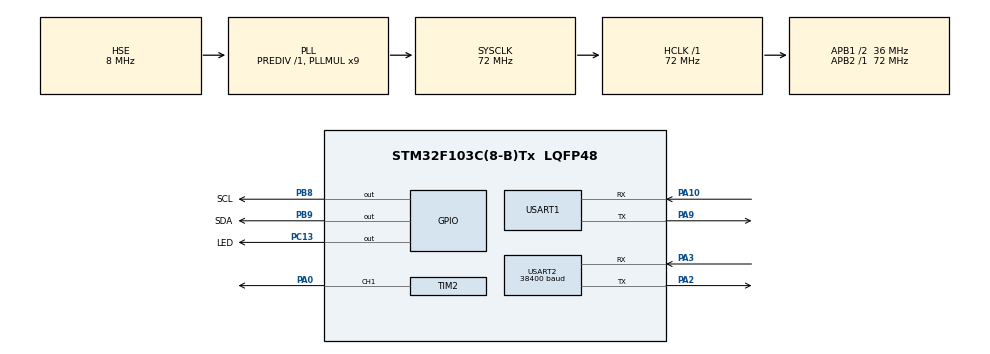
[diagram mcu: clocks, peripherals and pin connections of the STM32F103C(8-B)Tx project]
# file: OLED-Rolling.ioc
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Dma.Request0=USART1_RX
Dma.Request1=USART1_TX
Dma.Request2=USART2_RX
Dma.Request3=USART2_TX
Dma.USART1_RX.0.Direction=DMA_PERIPH_TO_MEMORY
Dma.USART1_RX.0.Instance=DMA1_Channel5
Dma.USART1_RX.0.MemDataAlignment=DMA_MDATAALIGN_BYTE
Dma.USART1_RX.0.MemInc=DMA_MINC_ENABLE
Dma.USART1_RX.0.Mode=DMA_NORMAL
Dma.USART1_RX.0.PeriphDataAlignment=DMA_PDATAALIGN_BYTE
Dma.USART1_RX.0.PeriphInc=DMA_PINC_DISABLE
Dma.USART1_RX.0.Priority=DMA_PRIORITY_LOW
Dma.USART1_TX.1.Direction=DMA_MEMORY_TO_PERIPH
Dma.USART1_TX.1.Instance=DMA1_Channel4
Dma.USART1_TX.1.MemDataAlignment=DMA_MDATAALIGN_BYTE
Dma.USART1_TX.1.MemInc=DMA_MINC_ENABLE
Dma.USART1_TX.1.Mode=DMA_NORMAL
Dma.USART1_TX.1.PeriphDataAlignment=DMA_PDATAALIGN_BYTE
Dma.USART1_TX.1.PeriphInc=DMA_PINC_DISABLE
Dma.USART1_TX.1.Priority=DMA_PRIORITY_LOW
Dma.USART2_RX.2.Direction=DMA_PERIPH_TO_MEMORY
Dma.USART2_RX.2.Instance=DMA1_Channel6
Dma.USART2_RX.2.MemDataAlignment=DMA_MDATAALIGN_BYTE
Dma.USART2_RX.2.MemInc=DMA_MINC_ENABLE
Dma.USART2_RX.2.Mode=DMA_NORMAL
Dma.USART2_RX.2.PeriphDataAlignment=DMA_PDATAALIGN_BYTE
Dma.USART2_RX.2.PeriphInc=DMA_PINC_DISABLE
Dma.USART2_RX.2.Priority=DMA_PRIORITY_LOW
Dma.USART2_TX.3.Direction=DMA_MEMORY_TO_PERIPH
Dma.USART2_TX.3.Instance=DMA1_Channel7
Dma.USART2_TX.3.MemDataAlignment=DMA_MDATAALIGN_BYTE
Dma.USART2_TX.3.MemInc=DMA_MINC_ENABLE
Dma.USART2_TX.3.Mode=DMA_NORMAL
Dma.USART2_TX.3.PeriphDataAlignment=DMA_PDATAALIGN_BYTE
Dma.USART2_TX.3.PeriphInc=DMA_PINC_DISABLE
Dma.USART2_TX.3.Priority=DMA_PRIORITY_LOW
Mcu.Family=STM32F1
Mcu.Name=STM32F103C(8-B)Tx
Mcu.Package=LQFP48
NVIC.DMA1_Channel4_IRQn=true\:0\:0\:false\:false\:true\:false\:true\:true
NVIC.DMA1_Channel5_IRQn=true\:0\:0\:false\:false\:true\:false\:true\:true
NVIC.DMA1_Channel6_IRQn=true\:0\:0\:false\:false\:true\:false\:true\:true
NVIC.DMA1_Channel7_IRQn=true\:0\:0\:false\:false\:true\:false\:true\:true
NVIC.PriorityGroup=NVIC_PRIORITYGROUP_4
NVIC.TIM1_UP_IRQn=true\:0\:0\:false\:false\:true\:true\:true\:true
NVIC.USART1_IRQn=true\:0\:0\:false\:false\:true\:true\:true\:true
NVIC.USART2_IRQn=true\:0\:0\:false\:false\:true\:true\:true\:true
PA0-WKUP.Signal=S_TIM2_CH1_ETR
PA10.Mode=Asynchronous
PA10.Signal=USART1_RX
PA13.Mode=Serial_Wire
PA13.Signal=SYS_JTMS-SWDIO
PA14.Mode=Serial_Wire
PA14.Signal=SYS_JTCK-SWCLK
PA2.Mode=Asynchronous
PA2.Signal=USART2_TX
PA3.Mode=Asynchronous
PA3.Signal=USART2_RX
PA9.Mode=Asynchronous
PA9.Signal=USART1_TX
PB8.GPIO_Label=SCL
PB8.Signal=GPIO_Output
PB9.GPIO_Label=SDA
PB9.Signal=GPIO_Output
PC13-TAMPER-RTC.GPIO_Label=LED
PC13-TAMPER-RTC.Signal=GPIO_Output
PD0-OSC_IN.Mode=HSE-External-Oscillator
PD0-OSC_IN.Signal=RCC_OSC_IN
PD1-OSC_OUT.Mode=HSE-External-Oscillator
PD1-OSC_OUT.Signal=RCC_OSC_OUT
ProjectManager.HeapSize=0x200
ProjectManager.StackSize=0x400
ProjectManager.TargetToolchain=MDK-ARM V5
RCC.AHBFreq_Value=72000000
RCC.APB1CLKDivider=RCC_HCLK_DIV2
RCC.APB1Freq_Value=36000000
RCC.APB1TimFreq_Value=72000000
RCC.APB2Freq_Value=72000000
RCC.APB2TimFreq_Value=72000000
RCC.HCLKFreq_Value=72000000
RCC.PLLMUL=RCC_PLL_MUL9
RCC.PLLSourceVirtual=RCC_PLLSOURCE_HSE
RCC.SYSCLKFreq_VALUE=72000000
RCC.SYSCLKSource=RCC_SYSCLKSOURCE_PLLCLK
RCC.USBFreq_Value=72000000
SH.S_TIM2_CH1_ETR.0=TIM2_CH1,PWM Generation1 CH1
TIM1.Prescaler=36000-1
TIM2.Channel-PWM\ Generation1\ CH1=TIM_CHANNEL_1
TIM2.Period=9999
TIM2.Prescaler=71
USART1.VirtualMode=VM_ASYNC
USART2.BaudRate=38400
USART2.VirtualMode=VM_ASYNC
VP_TIM1_VS_ClockSourceINT.Mode=Internal
board=custom

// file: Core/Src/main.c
/* USER CODE BEGIN Header */
/**
 ******************************************************************************
 * @file           : main.c
 * @brief          : Main program body
 ******************************************************************************
 * @attention
 *
 * Copyright (c) 2025 STMicroelectronics.
 * All rights reserved.
 *
 * This software is licensed under terms that can be found in the LICENSE file
 * in the root directory of this software component.
 * If no LICENSE file comes with this software, it is provided AS-IS.
 *
 ******************************************************************************
 */
/* USER CODE END Header */
#include "main.h"
#include "dma.h"
#include "tim.h"
#include "usart.h"
#include "gpio.h"

/* USER CODE BEGIN Includes */
#include "OLED.h"
#include "DMA_Transmit.h"
/* USER CODE END Includes */

void SystemClock_Config(void);

/* USER CODE BEGIN 0 */
extern DMA_HandleTypeDef hdma_usart1_rx;
extern DMA_HandleTypeDef hdma_usart1_tx;
/* USER CODE END 0 */

int main(void)
{

  /* MCU Configuration--------------------------------------------------------*/

  /* Reset of all peripherals, Initializes the Flash interface and the Systick. */
  HAL_Init();

  /* Configure the system clock */
  SystemClock_Config();

  /* Initialize all configured peripherals */
  MX_GPIO_Init();
  MX_DMA_Init();
  MX_TIM1_Init();
  MX_TIM2_Init();
  MX_USART1_UART_Init();
  MX_USART2_UART_Init();
  /* USER CODE BEGIN 2 */

  OLED_Init(); // OLED初始化

  vResetDMAReceive();

  /* USER CODE END 2 */

  /* Infinite loop */
  /* USER CODE BEGIN WHILE */

  while (1)
  {
    for (int i = 1; i <= 5; i++)
    {
      OLED_ShowCN(3, i, 0);
      OLED_ShowCN(3, i + 1, 1);
      OLED_ShowCN(3, i + 2, 2);

      for (int j = 1; j <= 10; j++)
      {
        vLightPWM();
        HAL_Delay(30);
      }
      OLED_Clear();
    }

    //vreceiveLightCommand();
    vreceiveCommandFromComputer();

    /* USER CODE END WHILE */

  }
}

void SystemClock_Config(void)
{
  RCC_OscInitTypeDef RCC_OscInitStruct = {0};
  RCC_ClkInitTypeDef RCC_ClkInitStruct = {0};

  /** Initializes the RCC Oscillators according to the specified parameters
  * in the RCC_OscInitTypeDef structure.
  */
  RCC_OscInitStruct.OscillatorType = RCC_OSCILLATORTYPE_HSE;
  RCC_OscInitStruct.HSEState = RCC_HSE_ON;
  RCC_OscInitStruct.HSEPredivValue = RCC_HSE_PREDIV_DIV1;
  RCC_OscInitStruct.HSIState = RCC_HSI_ON;
  RCC_OscInitStruct.PLL.PLLState = RCC_PLL_ON;
  RCC_OscInitStruct.PLL.PLLSource = RCC_PLLSOURCE_HSE;
  RCC_OscInitStruct.PLL.PLLMUL = RCC_PLL_MUL9;
  if (HAL_RCC_OscConfig(&RCC_OscInitStruct) != HAL_OK)
  {
    Error_Handler();
  }

  /** Initializes the CPU, AHB and APB buses clocks
  */
  RCC_ClkInitStruct.ClockType = RCC_CLOCKTYPE_HCLK|RCC_CLOCKTYPE_SYSCLK
                              |RCC_CLOCKTYPE_PCLK1|RCC_CLOCKTYPE_PCLK2;
  RCC_ClkInitStruct.SYSCLKSource = RCC_SYSCLKSOURCE_PLLCLK;
  RCC_ClkInitStruct.AHBCLKDivider = RCC_SYSCLK_DIV1;
  RCC_ClkInitStruct.APB1CLKDivider = RCC_HCLK_DIV2;
  RCC_ClkInitStruct.APB2CLKDivider = RCC_HCLK_DIV1;

  if (HAL_RCC_ClockConfig(&RCC_ClkInitStruct, FLASH_LATENCY_2) != HAL_OK)
  {
    Error_Handler();
  }
}

void Error_Handler(void)
{
  __disable_irq();
  while (1)
  {
  }
}
